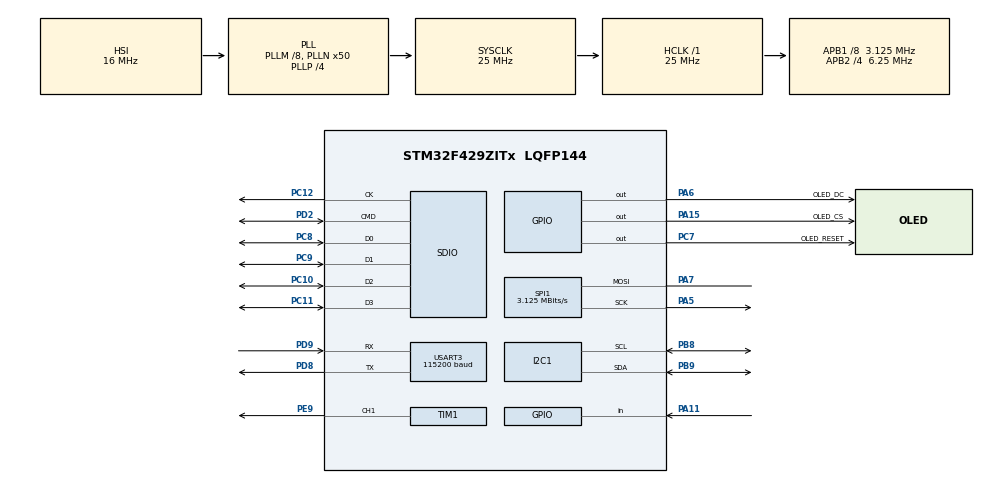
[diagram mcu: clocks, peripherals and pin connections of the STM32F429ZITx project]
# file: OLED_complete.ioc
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Dma.I2C1_TX.2.Direction=DMA_MEMORY_TO_PERIPH
Dma.I2C1_TX.2.FIFOMode=DMA_FIFOMODE_DISABLE
Dma.I2C1_TX.2.Instance=DMA1_Stream6
Dma.I2C1_TX.2.MemDataAlignment=DMA_MDATAALIGN_BYTE
Dma.I2C1_TX.2.MemInc=DMA_MINC_ENABLE
Dma.I2C1_TX.2.Mode=DMA_NORMAL
Dma.I2C1_TX.2.PeriphDataAlignment=DMA_PDATAALIGN_BYTE
Dma.I2C1_TX.2.PeriphInc=DMA_PINC_DISABLE
Dma.I2C1_TX.2.Priority=DMA_PRIORITY_LOW
Dma.Request0=SDIO_RX
Dma.Request1=SDIO_TX
Dma.Request2=I2C1_TX
Dma.Request3=SPI1_TX
Dma.SDIO_RX.0.Direction=DMA_PERIPH_TO_MEMORY
Dma.SDIO_RX.0.FIFOMode=DMA_FIFOMODE_ENABLE
Dma.SDIO_RX.0.FIFOThreshold=DMA_FIFO_THRESHOLD_FULL
Dma.SDIO_RX.0.Instance=DMA2_Stream3
Dma.SDIO_RX.0.MemBurst=DMA_MBURST_INC4
Dma.SDIO_RX.0.MemDataAlignment=DMA_MDATAALIGN_WORD
Dma.SDIO_RX.0.MemInc=DMA_MINC_ENABLE
Dma.SDIO_RX.0.Mode=DMA_PFCTRL
Dma.SDIO_RX.0.PeriphBurst=DMA_PBURST_INC4
Dma.SDIO_RX.0.PeriphDataAlignment=DMA_PDATAALIGN_WORD
Dma.SDIO_RX.0.PeriphInc=DMA_PINC_DISABLE
Dma.SDIO_RX.0.Priority=DMA_PRIORITY_LOW
Dma.SDIO_TX.1.Direction=DMA_MEMORY_TO_PERIPH
Dma.SDIO_TX.1.FIFOMode=DMA_FIFOMODE_ENABLE
Dma.SDIO_TX.1.FIFOThreshold=DMA_FIFO_THRESHOLD_FULL
Dma.SDIO_TX.1.Instance=DMA2_Stream6
Dma.SDIO_TX.1.MemBurst=DMA_MBURST_INC4
Dma.SDIO_TX.1.MemDataAlignment=DMA_MDATAALIGN_WORD
Dma.SDIO_TX.1.MemInc=DMA_MINC_ENABLE
Dma.SDIO_TX.1.Mode=DMA_PFCTRL
Dma.SDIO_TX.1.PeriphBurst=DMA_PBURST_INC4
Dma.SDIO_TX.1.PeriphDataAlignment=DMA_PDATAALIGN_WORD
Dma.SDIO_TX.1.PeriphInc=DMA_PINC_DISABLE
Dma.SDIO_TX.1.Priority=DMA_PRIORITY_LOW
Dma.SPI1_TX.3.Direction=DMA_MEMORY_TO_PERIPH
Dma.SPI1_TX.3.FIFOMode=DMA_FIFOMODE_DISABLE
Dma.SPI1_TX.3.Instance=DMA2_Stream5
Dma.SPI1_TX.3.MemDataAlignment=DMA_MDATAALIGN_BYTE
Dma.SPI1_TX.3.MemInc=DMA_MINC_ENABLE
Dma.SPI1_TX.3.Mode=DMA_NORMAL
Dma.SPI1_TX.3.PeriphDataAlignment=DMA_PDATAALIGN_BYTE
Dma.SPI1_TX.3.PeriphInc=DMA_PINC_DISABLE
Dma.SPI1_TX.3.Priority=DMA_PRIORITY_LOW
FATFS._MAX_SS=4096
FATFS._USE_LFN=2
FREERTOS.Tasks01=defaultTask,-3,256,StartDefaultTask,Default,NULL,Dynamic,NULL,NULL;oledTask,0,2048,StartOledTask,Default,NULL,Dynamic,NULL,NULL;interfaceTask,-1,256,StartInterfaceTask,Default,NULL,Dynamic,NULL,NULL
FREERTOS.configMINIMAL_STACK_SIZE=256
Mcu.Family=STM32F4
Mcu.Name=STM32F429ZITx
Mcu.Package=LQFP144
NVIC.DMA1_Stream6_IRQn=true\:0\:0\:false\:false\:true\:true\:false\:true
NVIC.DMA2_Stream3_IRQn=true\:5\:0\:true\:false\:true\:true\:false\:true
NVIC.DMA2_Stream5_IRQn=true\:0\:0\:false\:false\:true\:true\:false\:true
NVIC.DMA2_Stream6_IRQn=true\:5\:0\:true\:false\:true\:true\:false\:true
NVIC.I2C1_EV_IRQn=true\:0\:0\:false\:false\:true\:true\:true\:true
NVIC.PriorityGroup=NVIC_PRIORITYGROUP_4
NVIC.SDIO_IRQn=true\:5\:0\:true\:false\:true\:false\:true\:true
NVIC.SPI1_IRQn=true\:0\:0\:false\:false\:true\:false\:true\:true
NVIC.TIM3_IRQn=true\:0\:0\:false\:false\:true\:false\:false\:true
NVIC.TimeBase=TIM3_IRQn
NVIC.TimeBaseIP=TIM3
NVIC.USART3_IRQn=true\:0\:0\:false\:false\:true\:false\:true\:true
PA11.Signal=GPIO_Input
PA15.GPIO_Label=OLED_CS
PA15.Signal=GPIO_Output
PA5.Mode=Simplex_Bidirectional_Master
PA5.Signal=SPI1_SCK
PA6.GPIO_Label=OLED_DC
PA6.Signal=GPIO_Output
PA7.Mode=Simplex_Bidirectional_Master
PA7.Signal=SPI1_MOSI
PB8.Mode=I2C
PB8.Signal=I2C1_SCL
PB9.Mode=I2C
PB9.Signal=I2C1_SDA
PC10.Mode=SD_4_bits_Wide_bus
PC10.Signal=SDIO_D2
PC11.Mode=SD_4_bits_Wide_bus
PC11.Signal=SDIO_D3
PC12.Mode=SD_4_bits_Wide_bus
PC12.Signal=SDIO_CK
PC7.GPIO_Label=OLED_RESET
PC7.Signal=GPIO_Output
PC8.Mode=SD_4_bits_Wide_bus
PC8.Signal=SDIO_D0
PC9.Mode=SD_4_bits_Wide_bus
PC9.Signal=SDIO_D1
PD2.Mode=SD_4_bits_Wide_bus
PD2.Signal=SDIO_CMD
PD8.Mode=Asynchronous
PD8.Signal=USART3_TX
PD9.Mode=Asynchronous
PD9.Signal=USART3_RX
PE9.Signal=S_TIM1_CH1
ProjectManager.HeapSize=0x200
ProjectManager.StackSize=0x400
ProjectManager.TargetToolchain=STM32CubeIDE
RCC.48MHZClocksFreq_Value=14285714.285714285
RCC.AHBFreq_Value=25000000
RCC.APB1CLKDivider=RCC_HCLK_DIV8
RCC.APB1Freq_Value=3125000
RCC.APB1TimFreq_Value=6250000
RCC.APB2CLKDivider=RCC_HCLK_DIV4
RCC.APB2Freq_Value=6250000
RCC.APB2TimFreq_Value=12500000
RCC.CortexFreq_Value=25000000
RCC.HCLKFreq_Value=25000000
RCC.HSE_VALUE=25000000
RCC.HSI_VALUE=16000000
RCC.LSE_VALUE=32768
RCC.PLLM=8
RCC.PLLN=50
RCC.PLLP=RCC_PLLP_DIV4
RCC.PLLQ=7
RCC.SYSCLKFreq_VALUE=25000000
RCC.SYSCLKSource=RCC_SYSCLKSOURCE_PLLCLK
RCC.VCOOutputFreq_Value=100000000
SDIO.ClockDiv=3
SH.S_TIM1_CH1.0=TIM1_CH1,PWM Generation1 CH1
SPI1.CalculateBaudRate=3.125 MBits/s
SPI1.Direction=SPI_DIRECTION_1LINE
SPI1.Mode=SPI_MODE_MASTER
SPI1.VirtualType=VM_MASTER
TIM1.Channel-PWM\ Generation1\ CH1=TIM_CHANNEL_1
TIM1.Period=99
TIM1.Prescaler=799
USART3.BaudRate=115200
USART3.VirtualMode=VM_ASYNC
VP_FATFS_VS_SDIO.Mode=SDIO
VP_FREERTOS_VS_CMSIS_V1.Mode=CMSIS_V1
VP_SYS_VS_tim3.Mode=TIM3
VP_TIM1_VS_ClockSourceINT.Mode=Internal
board=custom

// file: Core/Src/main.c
/* USER CODE BEGIN Header */
/**
  ******************************************************************************
  * @file           : main.c
  * @brief          : Main program body
  ******************************************************************************
  * @attention
  *
  * <h2><center>&copy; Copyright (c) 2020 STMicroelectronics.
  * All rights reserved.</center></h2>
  *
  * This software component is licensed by ST under BSD 3-Clause license,
  * the "License"; You may not use this file except in compliance with the
  * License. You may obtain a copy of the License at:
  *                        opensource.org/licenses/BSD-3-Clause
  *
  ******************************************************************************
  */
/* USER CODE END Header */
#include "main.h"
#include "cmsis_os.h"
#include "dma.h"
#include "fatfs.h"
#include "i2c.h"
#include "sdio.h"
#include "spi.h"
#include "tim.h"
#include "usart.h"
#include "gpio.h"

/* USER CODE BEGIN Includes */
#include "Oled/SSD1306.h"
#include "Interface/Interface_manager.h"
/* USER CODE END Includes */

void SystemClock_Config(void);
void MX_FREERTOS_Init(void);

int main(void)
{

  /* MCU Configuration--------------------------------------------------------*/

  /* Reset of all peripherals, Initializes the Flash interface and the Systick. */
  HAL_Init();

  /* Configure the system clock */
  SystemClock_Config();

  /* Initialize all configured peripherals */
  MX_GPIO_Init();
  MX_DMA_Init();
  MX_USART3_UART_Init();
  MX_SDIO_SD_Init();
  MX_FATFS_Init();
  MX_I2C1_Init();
  MX_SPI1_Init();
  MX_TIM1_Init();

  /* Call init function for freertos objects (in freertos.c) */
  MX_FREERTOS_Init();
  /* Start scheduler */
  osKernelStart();

  /* We should never get here as control is now taken by the scheduler */
  /* Infinite loop */
  while (1)
  {

  }
}

void SystemClock_Config(void)
{
  RCC_OscInitTypeDef RCC_OscInitStruct = {0};
  RCC_ClkInitTypeDef RCC_ClkInitStruct = {0};

  /** Configure the main internal regulator output voltage
  */
  __HAL_RCC_PWR_CLK_ENABLE();
  __HAL_PWR_VOLTAGESCALING_CONFIG(PWR_REGULATOR_VOLTAGE_SCALE3);
  /** Initializes the RCC Oscillators according to the specified parameters
  * in the RCC_OscInitTypeDef structure.
  */
  RCC_OscInitStruct.OscillatorType = RCC_OSCILLATORTYPE_HSI;
  RCC_OscInitStruct.HSIState = RCC_HSI_ON;
  RCC_OscInitStruct.HSICalibrationValue = RCC_HSICALIBRATION_DEFAULT;
  RCC_OscInitStruct.PLL.PLLState = RCC_PLL_ON;
  RCC_OscInitStruct.PLL.PLLSource = RCC_PLLSOURCE_HSI;
  RCC_OscInitStruct.PLL.PLLM = 8;
  RCC_OscInitStruct.PLL.PLLN = 50;
  RCC_OscInitStruct.PLL.PLLP = RCC_PLLP_DIV4;
  RCC_OscInitStruct.PLL.PLLQ = 7;
  if (HAL_RCC_OscConfig(&RCC_OscInitStruct) != HAL_OK)
  {
    Error_Handler();
  }
  /** Initializes the CPU, AHB and APB buses clocks
  */
  RCC_ClkInitStruct.ClockType = RCC_CLOCKTYPE_HCLK|RCC_CLOCKTYPE_SYSCLK
                              |RCC_CLOCKTYPE_PCLK1|RCC_CLOCKTYPE_PCLK2;
  RCC_ClkInitStruct.SYSCLKSource = RCC_SYSCLKSOURCE_PLLCLK;
  RCC_ClkInitStruct.AHBCLKDivider = RCC_SYSCLK_DIV1;
  RCC_ClkInitStruct.APB1CLKDivider = RCC_HCLK_DIV8;
  RCC_ClkInitStruct.APB2CLKDivider = RCC_HCLK_DIV4;

  if (HAL_RCC_ClockConfig(&RCC_ClkInitStruct, FLASH_LATENCY_0) != HAL_OK)
  {
    Error_Handler();
  }
}

void HAL_TIM_PeriodElapsedCallback(TIM_HandleTypeDef *htim)
{
  if (htim->Instance == TIM3) {
    HAL_IncTick();
  }
}

void Error_Handler(void)
{
}

/************************ (C) COPYRIGHT STMicroelectronics *****END OF FILE****/

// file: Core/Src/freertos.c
/* USER CODE BEGIN Header */
/**
  ******************************************************************************
  * File Name          : freertos.c
  * Description        : Code for freertos applications
  ******************************************************************************
  * @attention
  *
  * <h2><center>&copy; Copyright (c) 2020 STMicroelectronics.
  * All rights reserved.</center></h2>
  *
  * This software component is licensed by ST under Ultimate Liberty license
  * SLA0044, the "License"; You may not use this file except in compliance with
  * the License. You may obtain a copy of the License at:
  *                             www.st.com/SLA0044
  *
  ******************************************************************************
  */
/* USER CODE END Header */

#include "FreeRTOS.h"
#include "task.h"
#include "main.h"
#include "cmsis_os.h"

/* USER CODE BEGIN Includes */
#include "dma.h"
#include "fatfs.h"
#include "sdio.h"
#include "usart.h"
#include "gpio.h"
#include "Oled/SSD1306.h"
#include "Interface/Interface_manager.h"
#include "stdlib.h"
#include "cstring"
#include "string.h"
#include "stdio.h"
#include "stm32f4xx_hal.h"
/* USER CODE END Includes */

/* USER CODE BEGIN Variables */
extern Interface_manager* Interface1;
extern Interface_manager* Interface2;
extern SSD1306* oled;
extern SSD1306* oled2;

FATFS fs;  // file system
FIL fil; // File
FRESULT fresult;  // result
FILINFO fno;
UINT br, bw;  // File read/write count
/**** capacity related *****/
/* USER CODE END Variables */
osThreadId defaultTaskHandle;
osThreadId oledTaskHandle;
osThreadId interfaceTaskHandle;

/* USER CODE BEGIN FunctionPrototypes */
void send_uart (char *string)
{
	HAL_UART_Transmit(&huart3, (uint8_t *)string, strlen (string), HAL_MAX_DELAY);  //TODO change uart
}

/* USER CODE END FunctionPrototypes */

void StartDefaultTask(void const * argument);
void StartOledTask(void const * argument);
void StartInterfaceTask(void const * argument);

void MX_FREERTOS_Init(void); /* (MISRA C 2004 rule 8.1) */

/* GetIdleTaskMemory prototype (linked to static allocation support) */
void vApplicationGetIdleTaskMemory( StaticTask_t **ppxIdleTaskTCBBuffer, StackType_t **ppxIdleTaskStackBuffer, uint32_t *pulIdleTaskStackSize );

/* USER CODE BEGIN GET_IDLE_TASK_MEMORY */
static StaticTask_t xIdleTaskTCBBuffer;
static StackType_t xIdleStack[configMINIMAL_STACK_SIZE];

extern "C" void vApplicationGetIdleTaskMemory( StaticTask_t **ppxIdleTaskTCBBuffer, StackType_t **ppxIdleTaskStackBuffer, uint32_t *pulIdleTaskStackSize )
{
  *ppxIdleTaskTCBBuffer = &xIdleTaskTCBBuffer;
  *ppxIdleTaskStackBuffer = &xIdleStack[0];
  *pulIdleTaskStackSize = configMINIMAL_STACK_SIZE;
  /* place for user code */
}
/* USER CODE END GET_IDLE_TASK_MEMORY */

void MX_FREERTOS_Init(void) {

  /* Create the thread(s) */
  /* definition and creation of defaultTask */
  osThreadDef(defaultTask, StartDefaultTask, osPriorityIdle, 0, 256);
  defaultTaskHandle = osThreadCreate(osThread(defaultTask), NULL);

  /* definition and creation of oledTask */
  osThreadDef(oledTask, StartOledTask, osPriorityNormal, 0, 2048);
  oledTaskHandle = osThreadCreate(osThread(oledTask), NULL);

  /* definition and creation of interfaceTask */
  osThreadDef(interfaceTask, StartInterfaceTask, osPriorityBelowNormal, 0, 256);
  interfaceTaskHandle = osThreadCreate(osThread(interfaceTask), NULL);

}

void StartDefaultTask(void const * argument)
{
  /* USER CODE BEGIN StartDefaultTask */
  /* Infinite loop */
  for(;;)
  {
    osDelay(500);
  }
  /* USER CODE END StartDefaultTask */
}

void StartOledTask(void const * argument)
{
  /* USER CODE BEGIN StartOledTask */
  /* Infinite loop */
  for(;;)
  {
	oled->SPI_Interrupt_DMA();
	oled2->SPI_Interrupt_DMA();
	osDelay(50);
  }
  /* USER CODE END StartOledTask */
}

void StartInterfaceTask(void const * argument)
{
  /* USER CODE BEGIN StartInterfaceTask */
  /* Infinite loop */
  for(;;)
  {
	Interface2->interrupt();
    osDelay(50);
  }
  /* USER CODE END StartInterfaceTask */
}

/************************ (C) COPYRIGHT STMicroelectronics *****END OF FILE****/
